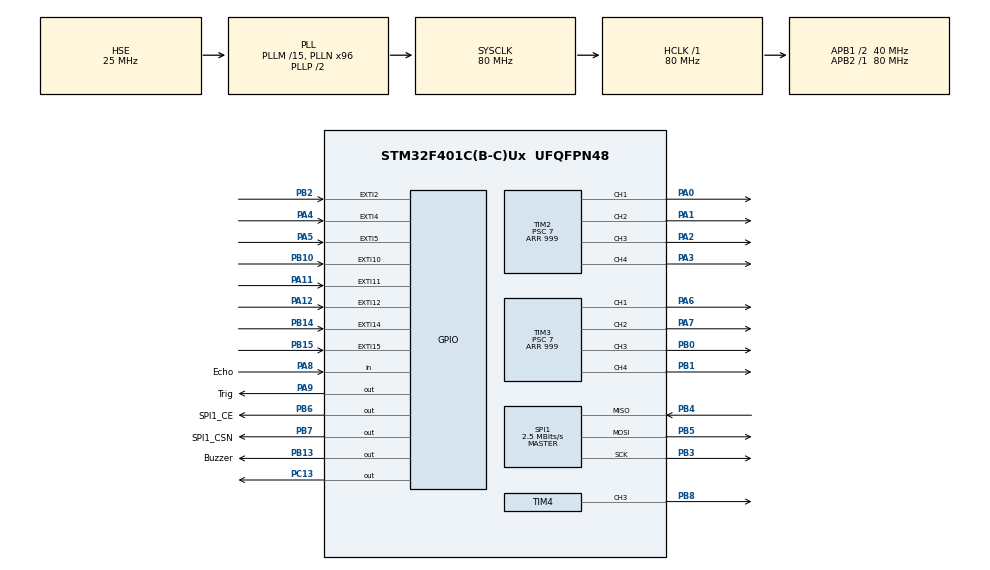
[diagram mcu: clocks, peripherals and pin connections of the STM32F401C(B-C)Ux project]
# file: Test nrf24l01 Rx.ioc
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Dma.Request0=TIM4_CH3
Dma.Request1=TIM4_UP
Dma.TIM4_CH3.0.Direction=DMA_MEMORY_TO_PERIPH
Dma.TIM4_CH3.0.FIFOMode=DMA_FIFOMODE_DISABLE
Dma.TIM4_CH3.0.Instance=DMA1_Stream7
Dma.TIM4_CH3.0.MemDataAlignment=DMA_MDATAALIGN_WORD
Dma.TIM4_CH3.0.MemInc=DMA_MINC_ENABLE
Dma.TIM4_CH3.0.Mode=DMA_NORMAL
Dma.TIM4_CH3.0.PeriphDataAlignment=DMA_PDATAALIGN_WORD
Dma.TIM4_CH3.0.PeriphInc=DMA_PINC_DISABLE
Dma.TIM4_CH3.0.Priority=DMA_PRIORITY_VERY_HIGH
Dma.TIM4_UP.1.Direction=DMA_MEMORY_TO_PERIPH
Dma.TIM4_UP.1.FIFOMode=DMA_FIFOMODE_DISABLE
Dma.TIM4_UP.1.Instance=DMA1_Stream6
Dma.TIM4_UP.1.MemDataAlignment=DMA_MDATAALIGN_HALFWORD
Dma.TIM4_UP.1.MemInc=DMA_MINC_ENABLE
Dma.TIM4_UP.1.Mode=DMA_NORMAL
Dma.TIM4_UP.1.PeriphDataAlignment=DMA_PDATAALIGN_HALFWORD
Dma.TIM4_UP.1.PeriphInc=DMA_PINC_DISABLE
Dma.TIM4_UP.1.Priority=DMA_PRIORITY_VERY_HIGH
Mcu.Family=STM32F4
Mcu.Name=STM32F401C(B-C)Ux
Mcu.Package=UFQFPN48
NVIC.DMA1_Stream6_IRQn=true\:0\:0\:false\:false\:true\:false\:true\:true
NVIC.DMA1_Stream7_IRQn=true\:0\:0\:false\:false\:true\:false\:true\:true
NVIC.EXTI15_10_IRQn=true\:0\:0\:false\:false\:true\:true\:true\:true
NVIC.EXTI2_IRQn=true\:0\:0\:false\:false\:true\:true\:true\:true
NVIC.EXTI4_IRQn=true\:0\:0\:false\:false\:true\:true\:true\:true
NVIC.EXTI9_5_IRQn=true\:0\:0\:false\:false\:true\:true\:true\:true
NVIC.PriorityGroup=NVIC_PRIORITYGROUP_4
PA0-WKUP.Signal=S_TIM2_CH1_ETR
PA1.Signal=S_TIM2_CH2
PA11.GPIO_ModeDefaultEXTI=GPIO_MODE_IT_RISING_FALLING
PA11.Signal=GPXTI11
PA12.GPIO_ModeDefaultEXTI=GPIO_MODE_IT_RISING_FALLING
PA12.Signal=GPXTI12
PA13.Mode=Serial_Wire
PA13.Signal=SYS_JTMS-SWDIO
PA14.Mode=Serial_Wire
PA14.Signal=SYS_JTCK-SWCLK
PA2.Signal=S_TIM2_CH3
PA3.Signal=S_TIM2_CH4
PA4.GPIO_ModeDefaultEXTI=GPIO_MODE_IT_RISING_FALLING
PA4.Signal=GPXTI4
PA5.GPIO_ModeDefaultEXTI=GPIO_MODE_IT_RISING_FALLING
PA5.Signal=GPXTI5
PA6.Signal=S_TIM3_CH1
PA7.Signal=S_TIM3_CH2
PA8.GPIO_Label=Echo
PA8.Signal=GPIO_Input
PA9.GPIO_Label=Trig
PA9.Signal=GPIO_Output
PB0.Signal=S_TIM3_CH3
PB1.Signal=S_TIM3_CH4
PB10.GPIO_ModeDefaultEXTI=GPIO_MODE_IT_RISING_FALLING
PB10.Signal=GPXTI10
PB13.GPIO_Label=Buzzer
PB13.Signal=GPIO_Output
PB14.GPIO_ModeDefaultEXTI=GPIO_MODE_IT_RISING_FALLING
PB14.Signal=GPXTI14
PB15.GPIO_ModeDefaultEXTI=GPIO_MODE_IT_RISING_FALLING
PB15.Signal=GPXTI15
PB2.GPIO_ModeDefaultEXTI=GPIO_MODE_IT_RISING_FALLING
PB2.Signal=GPXTI2
PB3.Mode=Full_Duplex_Master
PB3.Signal=SPI1_SCK
PB4.Mode=Full_Duplex_Master
PB4.Signal=SPI1_MISO
PB5.Mode=Full_Duplex_Master
PB5.Signal=SPI1_MOSI
PB6.GPIO_Label=SPI1_CE
PB6.GPIO_Speed=GPIO_SPEED_FREQ_LOW
PB6.Signal=GPIO_Output
PB7.GPIO_Label=SPI1_CSN
PB7.GPIO_Speed=GPIO_SPEED_FREQ_LOW
PB7.PinState=GPIO_PIN_RESET
PB7.Signal=GPIO_Output
PB8.Signal=S_TIM4_CH3
PC13-ANTI_TAMP.Signal=GPIO_Output
PH0\ -\ OSC_IN.Mode=HSE-External-Oscillator
PH0\ -\ OSC_IN.Signal=RCC_OSC_IN
PH1\ -\ OSC_OUT.Mode=HSE-External-Oscillator
PH1\ -\ OSC_OUT.Signal=RCC_OSC_OUT
ProjectManager.HeapSize=0x200
ProjectManager.StackSize=0x400
ProjectManager.TargetToolchain=STM32CubeIDE
RCC.48MHZClocksFreq_Value=40000000
RCC.AHBFreq_Value=80000000
RCC.APB1CLKDivider=RCC_HCLK_DIV2
RCC.APB1Freq_Value=40000000
RCC.APB1TimFreq_Value=80000000
RCC.APB2Freq_Value=80000000
RCC.APB2TimFreq_Value=80000000
RCC.CortexFreq_Value=80000000
RCC.HCLKFreq_Value=80000000
RCC.HSE_VALUE=25000000
RCC.HSI_VALUE=16000000
RCC.LSE_VALUE=32768
RCC.PLLM=15
RCC.PLLN=96
RCC.PLLSourceVirtual=RCC_PLLSOURCE_HSE
RCC.SYSCLKFreq_VALUE=80000000
RCC.SYSCLKSource=RCC_SYSCLKSOURCE_PLLCLK
RCC.VCOOutputFreq_Value=160000000
SH.S_TIM2_CH1_ETR.0=TIM2_CH1,PWM Generation1 CH1
SH.S_TIM2_CH2.0=TIM2_CH2,PWM Generation2 CH2
SH.S_TIM2_CH3.0=TIM2_CH3,PWM Generation3 CH3
SH.S_TIM2_CH4.0=TIM2_CH4,PWM Generation4 CH4
SH.S_TIM3_CH1.0=TIM3_CH1,PWM Generation1 CH1
SH.S_TIM3_CH2.0=TIM3_CH2,PWM Generation2 CH2
SH.S_TIM3_CH3.0=TIM3_CH3,PWM Generation3 CH3
SH.S_TIM3_CH4.0=TIM3_CH4,PWM Generation4 CH4
SH.S_TIM4_CH3.0=TIM4_CH3,PWM Generation3 CH3
SPI1.BaudRatePrescaler=SPI_BAUDRATEPRESCALER_32
SPI1.CalculateBaudRate=2.5 MBits/s
SPI1.Direction=SPI_DIRECTION_2LINES
SPI1.Mode=SPI_MODE_MASTER
SPI1.VirtualType=VM_MASTER
TIM1.Prescaler=79
TIM2.AutoReloadPreload=TIM_AUTORELOAD_PRELOAD_ENABLE
TIM2.Channel-PWM\ Generation1\ CH1=TIM_CHANNEL_1
TIM2.Channel-PWM\ Generation2\ CH2=TIM_CHANNEL_2
TIM2.Channel-PWM\ Generation3\ CH3=TIM_CHANNEL_3
TIM2.Channel-PWM\ Generation4\ CH4=TIM_CHANNEL_4
TIM2.Period=999
TIM2.Prescaler=7
TIM3.Channel-PWM\ Generation1\ CH1=TIM_CHANNEL_1
TIM3.Channel-PWM\ Generation2\ CH2=TIM_CHANNEL_2
TIM3.Channel-PWM\ Generation3\ CH3=TIM_CHANNEL_3
TIM3.Channel-PWM\ Generation4\ CH4=TIM_CHANNEL_4
TIM3.Period=999
TIM3.Prescaler=7
TIM4.Channel-PWM\ Generation3\ CH3=TIM_CHANNEL_3
TIM4.Period=99
VP_TIM1_VS_ClockSourceINT.Mode=Internal
VP_TIM2_VS_ClockSourceINT.Mode=Internal
VP_TIM3_VS_ClockSourceINT.Mode=Internal
VP_TIM4_VS_ClockSourceINT.Mode=Internal
board=custom

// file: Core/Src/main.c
/* USER CODE BEGIN Header */
/**
 ******************************************************************************
 * @file           : main.c
 * @brief          : Main program body
 ******************************************************************************
 * @attention
 *
 * Copyright (c) 2023 STMicroelectronics.
 * All rights reserved.
 *
 * This software is licensed under terms that can be found in the LICENSE file
 * in the root directory of this software component.
 * If no LICENSE file comes with this software, it is provided AS-IS.
 *
 ******************************************************************************
 */
/* USER CODE END Header */
#include "main.h"
#include "dma.h"
#include "spi.h"
#include "tim.h"
#include "gpio.h"

/* USER CODE BEGIN Includes */
#include "math.h"
/* USER CODE END Includes */

/* USER CODE BEGIN PD */

// adress nrf24l01
uint8_t Rxaddr[5] = { 'O', 'M', 'N', 'I', '0' };
uint8_t RxData[8];
uint32_t lastTime = 0;

// Ecoder_M1
#define ENCODER_M_L1_Pin GPIO_PIN_4
#define ENCODER_M_R1_Pin GPIO_PIN_5
#define ENCODER_M_L1_GPIO_Port GPIOA
#define ENCODER_M_R1_GPIO_Port GPIOA
//Ecoder_M2
#define ENCODER_M_L2_Pin GPIO_PIN_2
#define ENCODER_M_R2_Pin GPIO_PIN_10
#define ENCODER_M_L2_GPIO_Port GPIOB
#define ENCODER_M_R2_GPIO_Port GPIOB
//Ecoder_M3
#define ENCODER_M_L3_Pin GPIO_PIN_11
#define ENCODER_M_R3_Pin GPIO_PIN_12
#define ENCODER_M_L3_GPIO_Port GPIOA
#define ENCODER_M_R3_GPIO_Port GPIOA
//Ecoder_M4
#define ENCODER_M_L4_Pin GPIO_PIN_14
#define ENCODER_M_R4_Pin GPIO_PIN_15
#define ENCODER_M_L4_GPIO_Port GPIOB
#define ENCODER_M_R4_GPIO_Port GPIOB
//M1
#define MOTOR_L1 TIM_CHANNEL_1
#define MOTOR_R1 TIM_CHANNEL_2
//M2
#define MOTOR_L2 TIM_CHANNEL_3
#define MOTOR_R2 TIM_CHANNEL_4
//M3
#define MOTOR_L3 TIM_CHANNEL_1
#define MOTOR_R3 TIM_CHANNEL_2
//M4
#define MOTOR_L4 TIM_CHANNEL_3
#define MOTOR_R4 TIM_CHANNEL_4

//RGB
#define NEOPIXEL_ZERO 32 //ZERO=(ARR+1)0.32
#define NEOPIXEL_ONE 64 // ONE=(ARR+1)0.64
#define NUM_PIXELS 32  //Number of LEDs  model WS2812b
#define DMA_BUFF_SIZE 769//(NUM_PIXELS*24)+1
//Ultrasonic
#define TRIG_PIN GPIO_PIN_9
#define TRIG_PORT GPIOA
#define ECHO_PIN GPIO_PIN_8
#define ECHO_PORT GPIOA
uint32_t pMillis;
uint32_t Value1 = 0;
uint32_t Value2 = 0;
uint16_t Distance = 0;  // cm

//speed wheels int
int Vx = 0;
int Vy = 0;
int Omega = 0;
float r = 1;
float V0;
float V1;
float V2;
float V3;

//PID speed output
int encoder1[4];
int encoder2[4];
int last_encoder1[4] = { 0 };
int last_encoder2[4] = { 0 };
long last_count[4] = { 0 };
int counter[4] = { 0 };
int count[4] = { 0 };
double current_time[4];
long last_time[4] = { 0 };
int T[4] = { 0 };
float RPM[4] = { 0 };
float RPS[4] = { 0 };
float count_second[4] = { 0 };
float last_time_PID[4];
float current_time_PID[4];
float eslapedtime[4];
//float Error[4];
float last_Error[4] = { 0 };
float pro[4]= { 0 };
float in[4] = { 0 };
float dev[4] = { 0 };
float setpoint[4] = { 200, 200, 200, 200 };
//float setpoint[4] = { 0 };
double error[4];
float Kp =11.2;  //11.2
float Kd =7.5;
float Ki =0.2;
double pid[4] = { 0 };
float pre_error[4]= { 0 };
float pre_in[4]={0};
float pwm_M[4] = { 0 };
float pre_pid[4]={0};
float pre_dev[4]={0};
//int n;
//int Ts=0.0001;
//int kk;
///* USER CODE END PD */

void SystemClock_Config(void);
/* USER CODE BEGIN PFP */
double map(double x, double in_min, double in_max, double out_min,
		double out_max) {
	return (x - in_min) * (out_max - out_min) / (in_max - in_min) + out_min;
}

void HAL_GPIO_EXTI_Callback(uint16_t GPIO_Pin) {
	if (GPIO_Pin == ENCODER_M_L1_Pin || ENCODER_M_R1_Pin) {
		encoder1[0] = HAL_GPIO_ReadPin(ENCODER_M_L1_GPIO_Port,ENCODER_M_L1_Pin);
		encoder2[0] = HAL_GPIO_ReadPin(ENCODER_M_R1_GPIO_Port,ENCODER_M_R1_Pin);
	}
	if (GPIO_Pin == ENCODER_M_L2_Pin || ENCODER_M_R2_Pin) {
		encoder1[1] = HAL_GPIO_ReadPin(ENCODER_M_L2_GPIO_Port,ENCODER_M_L2_Pin);
		encoder2[1] = HAL_GPIO_ReadPin(ENCODER_M_R2_GPIO_Port,ENCODER_M_R2_Pin);
	}
	if (GPIO_Pin == ENCODER_M_L3_Pin || ENCODER_M_R3_Pin) {
		encoder1[2] = HAL_GPIO_ReadPin(ENCODER_M_L3_GPIO_Port,ENCODER_M_L3_Pin);
		encoder2[2] = HAL_GPIO_ReadPin(ENCODER_M_R3_GPIO_Port,ENCODER_M_R3_Pin);
	}
	if (GPIO_Pin == ENCODER_M_L4_Pin || ENCODER_M_R4_Pin) {
		encoder1[3] = HAL_GPIO_ReadPin(ENCODER_M_L4_GPIO_Port,ENCODER_M_L4_Pin);
		encoder2[3] = HAL_GPIO_ReadPin(ENCODER_M_R4_GPIO_Port,ENCODER_M_R4_Pin);
	}
}

void Kinematic_Omni_Wheels() {

    V0 = ((1/r)*(0.7071*Vx+0.7071*Vy)+Omega);
    V1 = ((1/r)*(0.7071*Vx-0.7071*Vy)+Omega);
    V2 = ((1/r)*(-0.7071*Vx-0.7071*Vy)+Omega);
    V3 = ((1/r)*(-0.7071*Vx+0.7071*Vy)+Omega);

}

void Encoder_M() {
	for(int i=0; i < 4; i++){

		if(encoder1[i] != last_encoder1[i]){
			last_encoder1[i] = encoder1[i];
			if(encoder1[i] == 0){
				if(encoder2[i] == 1){

					counter[i]++;
				}else{
					counter[i]--;
				}
			}else{
				if(encoder2[i] == 0){
					counter[i]++;
				}else{
					counter[i]--;
				}
			}
		}
		if(encoder2[i] != last_encoder2[i]){
			last_encoder2[i] = encoder2[i];
			if(encoder2[i] == 1){
				if(encoder1[i] == 1){
					counter[i]++;
				}else{
					counter[i]--;
				}
			}else{
				if(encoder1[i] == 0){
					counter[i]++;
				}else{
					counter[i]--;
				}
			}
		}
	}
	count[0] = counter[0];
	count[1] = counter[1];
	count[2] = counter[2];
	count[3] = counter[3];
}

void PID_Speed_Output() {

	//    sampling time
	for (int i = 0; i < 4; i++) {
		T[i] = HAL_GetTick() - last_time[i];
		if (T[i] >= 10) {

			setpoint[0] = V0;
			setpoint[1] = V1;
			setpoint[2] = V2;
			setpoint[3] = V3;

			count_second[i] = count[i] - last_count[i];
			RPS[i] = (count_second[i] * 100) / 1600;
			RPM[i] = (RPS[i] * 60);
			last_count[i] = count[i];
			last_time[i] = HAL_GetTick();
//
			current_time_PID[i] = HAL_GetTick();
			eslapedtime[i] = current_time_PID[i] - last_time_PID[i];
			error[i] = setpoint[i] - RPM[i];
			in[i] = in[i] + (error[i] * eslapedtime[i]);
			dev[i] = (error[i] - last_Error[i]) / eslapedtime[i];

			pid[i] = Kp * error[i] + Ki * in[i] + Kd * dev[i];

			// constrain value
			if (pid[i] < -850) {
				pwm_M[i] = -850;
			}
			if (pid[i] > 850) {
				pwm_M[i] = 850;
			}
			if (-850 <= pid[i] && pid[i] <= 850) {
				pwm_M[i] = pid[i];
			}
			//////////////////////
			last_Error[i] = error[i];
			last_time_PID[i] = current_time_PID[i];

//	             error[i]=setpoint[i]-RPM[i]; //error
//	             pro[i]=Kp*error[i]; //pro
//
//	             in[i]=((Ts*Ki)/2)*(error[i]+pre_error[i])+(in[i]);
//
//	             dev[i]=((2*Kd)/Ts)*(error[i]-pre_error[i])-dev[i];
//
//	             pid[i]=(pro[i]+in[i]+dev[i]);
//
//	             if (pid[i]<-700){
//	            	 pwm_M[i]=-700;
//	             }
//	               if(pid[i]>700){
//	            	   pwm_M[i]=700;
//	               }
//	             if(-700 <= pid[i] && pid[i] <= 700){
//	            	 pwm_M[i] = pid[i];
//	               }
//	             pre_error[i]=error[i];
//	             pre_in[i]=in[i];
////	             pre_dev[i]=dev[i];
		}
	}

}

void Motor_Speed() {

	//M1
	if (pwm_M[0] > 0) {
		__HAL_TIM_SET_COMPARE(&htim2, MOTOR_L1, pwm_M[0]);
		__HAL_TIM_SET_COMPARE(&htim2, MOTOR_R1, 0);
	}
	if (pwm_M[0] < 0) {
		__HAL_TIM_SET_COMPARE(&htim2, MOTOR_L1, 0);
		__HAL_TIM_SET_COMPARE(&htim2, MOTOR_R1, (-1) * pwm_M[0]);
	}
	if (pwm_M[0] == 0) {
		__HAL_TIM_SET_COMPARE(&htim2, MOTOR_L1, 0);
		__HAL_TIM_SET_COMPARE(&htim2, MOTOR_R1, 0);
	}
	  //M2
	if (pwm_M[1] > 0) {
		__HAL_TIM_SET_COMPARE(&htim2, MOTOR_L2, pwm_M[1]);
		__HAL_TIM_SET_COMPARE(&htim2, MOTOR_R2, 0);
	}
	if (pwm_M[1] < 0) {
		__HAL_TIM_SET_COMPARE(&htim2, MOTOR_L2, 0);
		__HAL_TIM_SET_COMPARE(&htim2, MOTOR_R2, (-1) * pwm_M[1]);
	}
	if (pwm_M[1] == 0) {
		__HAL_TIM_SET_COMPARE(&htim2, MOTOR_L2, 0);
		__HAL_TIM_SET_COMPARE(&htim2, MOTOR_R2, 0);
	}
//	M3
	if (pwm_M[2] > 0) {
		__HAL_TIM_SET_COMPARE(&htim3, MOTOR_L3, pwm_M[2]);
		__HAL_TIM_SET_COMPARE(&htim3, MOTOR_R3, 0);
	}
	if (pwm_M[2] < 0) {
		__HAL_TIM_SET_COMPARE(&htim3, MOTOR_L3, 0);
		__HAL_TIM_SET_COMPARE(&htim3, MOTOR_R3, (-1) * pwm_M[2]);
	}
	if (pwm_M[2] == 0) {
		__HAL_TIM_SET_COMPARE(&htim3, MOTOR_L3, 0);
		__HAL_TIM_SET_COMPARE(&htim3, MOTOR_R3, 0);
	}
//	//M4
	if (pwm_M[3] > 0) {
		__HAL_TIM_SET_COMPARE(&htim3, MOTOR_L4, pwm_M[3]);
		__HAL_TIM_SET_COMPARE(&htim3, MOTOR_R4, 0);
	}
	if (pwm_M[3] < 0) {
		__HAL_TIM_SET_COMPARE(&htim3, MOTOR_L4, 0);
		__HAL_TIM_SET_COMPARE(&htim3, MOTOR_R4, (-1) * pwm_M[3]);
	}
	if (pwm_M[3] == 0) {
		__HAL_TIM_SET_COMPARE(&htim3, MOTOR_L4, 0);
		__HAL_TIM_SET_COMPARE(&htim3, MOTOR_R4, 0);
	}

}

void reset_data(void) {
	RxData[0] = 128;    //x1
	RxData[1] = 128;    //y1
	RxData[2] = 128;    //x2
	RxData[3] = 128; //y2
	RxData[4] = 128; //y2
	RxData[5] = 128; //y2
	RxData[6] = 0; //y2
	RxData[7] = 0; //y2
}

/* USER CODE END PFP */

int main(void)
{

  /* MCU Configuration--------------------------------------------------------*/

  /* Reset of all peripherals, Initializes the Flash interface and the Systick. */
  HAL_Init();

  /* Configure the system clock */
  SystemClock_Config();

  /* Initialize all configured peripherals */
  MX_GPIO_Init();
  MX_DMA_Init();
  MX_SPI1_Init();
  MX_TIM2_Init();
  MX_TIM3_Init();
  MX_TIM4_Init();
  MX_TIM1_Init();
  /* USER CODE BEGIN 2 */
	//PWM Motor
	HAL_TIM_PWM_Start(&htim2, MOTOR_L1);
	HAL_TIM_PWM_Start(&htim2, MOTOR_R1);
	HAL_TIM_PWM_Start(&htim2, MOTOR_L2);
	HAL_TIM_PWM_Start(&htim2, MOTOR_R2);

	HAL_TIM_PWM_Start(&htim3, MOTOR_L3);
	HAL_TIM_PWM_Start(&htim3, MOTOR_R3);
	HAL_TIM_PWM_Start(&htim3, MOTOR_L4);
	HAL_TIM_PWM_Start(&htim3, MOTOR_R4);
	//PWM Ultrasonic
	HAL_TIM_Base_Start(&htim1);
	HAL_GPIO_WritePin(TRIG_PORT, TRIG_PIN, GPIO_PIN_RESET); // pull the TRIG pin low

	NRF24_Init();
	NRF24_RxMode(Rxaddr, 112, 8); //NRF24_TxMode(Address, channel, payload_size)
	RxData[0] = 128;  //x1
	RxData[1] = 128;  //y1
	RxData[2] = 128;  //x2
	RxData[3] = 128; //y2
	RxData[4] = 128; //y2
	RxData[5] = 128; //y2
	RxData[6] = 0; //y2
	RxData[7] = 0; //y2
//	RGB_Setup();

  /* USER CODE END 2 */

  /* Infinite loop */
	while (1) {

    /* USER CODE BEGIN 3 */

		if (DataReady(1) > 0) {
			NRF24_Receive(RxData, 8);
			lastTime = HAL_GetTick();
		}
		if ((HAL_GetTick() - lastTime > 10)) {
			reset_data();
		}

		Vx = map(RxData[0], 0, 256, -300, 300);
		Vy = map(RxData[1], 0, 256, -300, 300);
		Omega = map(RxData[2], 0, 256, -300, 300);

//
		Kinematic_Omni_Wheels();
		Encoder_M();
		PID_Speed_Output();
		Motor_Speed();

	}

  /* USER CODE END 3 */
}

void SystemClock_Config(void)
{
  RCC_OscInitTypeDef RCC_OscInitStruct = {0};
  RCC_ClkInitTypeDef RCC_ClkInitStruct = {0};

  /** Configure the main internal regulator output voltage
  */
  __HAL_RCC_PWR_CLK_ENABLE();
  __HAL_PWR_VOLTAGESCALING_CONFIG(PWR_REGULATOR_VOLTAGE_SCALE2);

  /** Initializes the RCC Oscillators according to the specified parameters
  * in the RCC_OscInitTypeDef structure.
  */
  RCC_OscInitStruct.OscillatorType = RCC_OSCILLATORTYPE_HSE;
  RCC_OscInitStruct.HSEState = RCC_HSE_ON;
  RCC_OscInitStruct.PLL.PLLState = RCC_PLL_ON;
  RCC_OscInitStruct.PLL.PLLSource = RCC_PLLSOURCE_HSE;
  RCC_OscInitStruct.PLL.PLLM = 15;
  RCC_OscInitStruct.PLL.PLLN = 96;
  RCC_OscInitStruct.PLL.PLLP = RCC_PLLP_DIV2;
  RCC_OscInitStruct.PLL.PLLQ = 4;
  if (HAL_RCC_OscConfig(&RCC_OscInitStruct) != HAL_OK)
  {
    Error_Handler();
  }

  /** Initializes the CPU, AHB and APB buses clocks
  */
  RCC_ClkInitStruct.ClockType = RCC_CLOCKTYPE_HCLK|RCC_CLOCKTYPE_SYSCLK
                              |RCC_CLOCKTYPE_PCLK1|RCC_CLOCKTYPE_PCLK2;
  RCC_ClkInitStruct.SYSCLKSource = RCC_SYSCLKSOURCE_PLLCLK;
  RCC_ClkInitStruct.AHBCLKDivider = RCC_SYSCLK_DIV1;
  RCC_ClkInitStruct.APB1CLKDivider = RCC_HCLK_DIV2;
  RCC_ClkInitStruct.APB2CLKDivider = RCC_HCLK_DIV1;

  if (HAL_RCC_ClockConfig(&RCC_ClkInitStruct, FLASH_LATENCY_2) != HAL_OK)
  {
    Error_Handler();
  }
}

void Error_Handler(void)
{
	__disable_irq();
	while (1) {
	}
}
